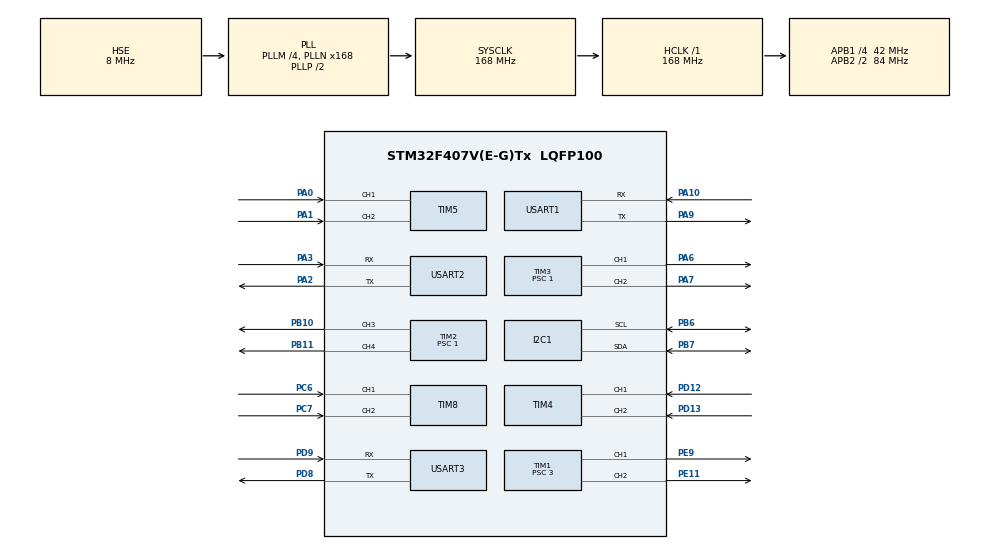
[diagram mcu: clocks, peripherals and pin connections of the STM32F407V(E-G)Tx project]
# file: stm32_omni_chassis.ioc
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Dma.Request0=USART2_RX
Dma.Request1=USART2_TX
Dma.Request2=USART1_RX
Dma.Request3=USART1_TX
Dma.Request4=USART3_TX
Dma.Request5=USART3_RX
Dma.USART1_RX.2.Direction=DMA_PERIPH_TO_MEMORY
Dma.USART1_RX.2.FIFOMode=DMA_FIFOMODE_DISABLE
Dma.USART1_RX.2.Instance=DMA2_Stream2
Dma.USART1_RX.2.MemDataAlignment=DMA_MDATAALIGN_BYTE
Dma.USART1_RX.2.MemInc=DMA_MINC_ENABLE
Dma.USART1_RX.2.Mode=DMA_NORMAL
Dma.USART1_RX.2.PeriphDataAlignment=DMA_PDATAALIGN_BYTE
Dma.USART1_RX.2.PeriphInc=DMA_PINC_DISABLE
Dma.USART1_RX.2.Priority=DMA_PRIORITY_LOW
Dma.USART1_TX.3.Direction=DMA_MEMORY_TO_PERIPH
Dma.USART1_TX.3.FIFOMode=DMA_FIFOMODE_DISABLE
Dma.USART1_TX.3.Instance=DMA2_Stream7
Dma.USART1_TX.3.MemDataAlignment=DMA_MDATAALIGN_BYTE
Dma.USART1_TX.3.MemInc=DMA_MINC_ENABLE
Dma.USART1_TX.3.Mode=DMA_NORMAL
Dma.USART1_TX.3.PeriphDataAlignment=DMA_PDATAALIGN_BYTE
Dma.USART1_TX.3.PeriphInc=DMA_PINC_DISABLE
Dma.USART1_TX.3.Priority=DMA_PRIORITY_LOW
Dma.USART2_RX.0.Direction=DMA_PERIPH_TO_MEMORY
Dma.USART2_RX.0.FIFOMode=DMA_FIFOMODE_DISABLE
Dma.USART2_RX.0.Instance=DMA1_Stream5
Dma.USART2_RX.0.MemDataAlignment=DMA_MDATAALIGN_BYTE
Dma.USART2_RX.0.MemInc=DMA_MINC_ENABLE
Dma.USART2_RX.0.Mode=DMA_NORMAL
Dma.USART2_RX.0.PeriphDataAlignment=DMA_PDATAALIGN_BYTE
Dma.USART2_RX.0.PeriphInc=DMA_PINC_DISABLE
Dma.USART2_RX.0.Priority=DMA_PRIORITY_LOW
Dma.USART2_TX.1.Direction=DMA_MEMORY_TO_PERIPH
Dma.USART2_TX.1.FIFOMode=DMA_FIFOMODE_DISABLE
Dma.USART2_TX.1.Instance=DMA1_Stream6
Dma.USART2_TX.1.MemDataAlignment=DMA_MDATAALIGN_BYTE
Dma.USART2_TX.1.MemInc=DMA_MINC_ENABLE
Dma.USART2_TX.1.Mode=DMA_NORMAL
Dma.USART2_TX.1.PeriphDataAlignment=DMA_PDATAALIGN_BYTE
Dma.USART2_TX.1.PeriphInc=DMA_PINC_DISABLE
Dma.USART2_TX.1.Priority=DMA_PRIORITY_LOW
Dma.USART3_RX.5.Direction=DMA_PERIPH_TO_MEMORY
Dma.USART3_RX.5.FIFOMode=DMA_FIFOMODE_DISABLE
Dma.USART3_RX.5.Instance=DMA1_Stream1
Dma.USART3_RX.5.MemDataAlignment=DMA_MDATAALIGN_BYTE
Dma.USART3_RX.5.MemInc=DMA_MINC_ENABLE
Dma.USART3_RX.5.Mode=DMA_NORMAL
Dma.USART3_RX.5.PeriphDataAlignment=DMA_PDATAALIGN_BYTE
Dma.USART3_RX.5.PeriphInc=DMA_PINC_DISABLE
Dma.USART3_RX.5.Priority=DMA_PRIORITY_LOW
Dma.USART3_TX.4.Direction=DMA_MEMORY_TO_PERIPH
Dma.USART3_TX.4.FIFOMode=DMA_FIFOMODE_DISABLE
Dma.USART3_TX.4.Instance=DMA1_Stream3
Dma.USART3_TX.4.MemDataAlignment=DMA_MDATAALIGN_BYTE
Dma.USART3_TX.4.MemInc=DMA_MINC_ENABLE
Dma.USART3_TX.4.Mode=DMA_NORMAL
Dma.USART3_TX.4.PeriphDataAlignment=DMA_PDATAALIGN_BYTE
Dma.USART3_TX.4.PeriphInc=DMA_PINC_DISABLE
Dma.USART3_TX.4.Priority=DMA_PRIORITY_LOW
Mcu.Family=STM32F4
Mcu.Name=STM32F407V(E-G)Tx
Mcu.Package=LQFP100
NVIC.DMA1_Stream1_IRQn=true\:0\:0\:false\:false\:true\:false\:true\:true
NVIC.DMA1_Stream3_IRQn=true\:0\:0\:false\:false\:true\:false\:true\:true
NVIC.DMA1_Stream5_IRQn=true\:0\:0\:false\:false\:true\:false\:true\:true
NVIC.DMA1_Stream6_IRQn=true\:0\:0\:false\:false\:true\:false\:true\:true
NVIC.DMA2_Stream2_IRQn=true\:0\:0\:false\:false\:true\:false\:true\:true
NVIC.DMA2_Stream7_IRQn=true\:0\:0\:false\:false\:true\:false\:true\:true
NVIC.PriorityGroup=NVIC_PRIORITYGROUP_4
NVIC.TIM7_IRQn=true\:0\:0\:false\:false\:true\:true\:true\:true
NVIC.USART1_IRQn=true\:0\:0\:false\:false\:true\:true\:true\:true
NVIC.USART2_IRQn=true\:0\:0\:false\:false\:true\:true\:true\:true
NVIC.USART3_IRQn=true\:0\:0\:false\:false\:true\:true\:true\:true
PA0-WKUP.Signal=S_TIM5_CH1
PA1.Signal=S_TIM5_CH2
PA10.Mode=Asynchronous
PA10.Signal=USART1_RX
PA13.Mode=Serial_Wire
PA13.Signal=SYS_JTMS-SWDIO
PA14.Mode=Serial_Wire
PA14.Signal=SYS_JTCK-SWCLK
PA2.Mode=Asynchronous
PA2.Signal=USART2_TX
PA3.Mode=Asynchronous
PA3.Signal=USART2_RX
PA6.Signal=S_TIM3_CH1
PA7.Signal=S_TIM3_CH2
PA9.Mode=Asynchronous
PA9.Signal=USART1_TX
PB10.Signal=S_TIM2_CH3
PB11.Signal=S_TIM2_CH4
PB6.Mode=I2C
PB6.Signal=I2C1_SCL
PB7.Mode=I2C
PB7.Signal=I2C1_SDA
PC6.Signal=S_TIM8_CH1
PC7.Signal=S_TIM8_CH2
PD12.Signal=S_TIM4_CH1
PD13.Signal=S_TIM4_CH2
PD8.Mode=Asynchronous
PD8.Signal=USART3_TX
PD9.Mode=Asynchronous
PD9.Signal=USART3_RX
PE11.Signal=S_TIM1_CH2
PE9.Signal=S_TIM1_CH1
PH0-OSC_IN.Mode=HSE-External-Oscillator
PH0-OSC_IN.Signal=RCC_OSC_IN
PH1-OSC_OUT.Mode=HSE-External-Oscillator
PH1-OSC_OUT.Signal=RCC_OSC_OUT
ProjectManager.HeapSize=0x200
ProjectManager.StackSize=0x400
ProjectManager.TargetToolchain=CMake
RCC.48MHZClocksFreq_Value=84000000
RCC.AHBFreq_Value=168000000
RCC.APB1CLKDivider=RCC_HCLK_DIV4
RCC.APB1Freq_Value=42000000
RCC.APB1TimFreq_Value=84000000
RCC.APB2CLKDivider=RCC_HCLK_DIV2
RCC.APB2Freq_Value=84000000
RCC.APB2TimFreq_Value=168000000
RCC.CortexFreq_Value=168000000
RCC.HCLKFreq_Value=168000000
RCC.HSE_VALUE=8000000
RCC.HSI_VALUE=16000000
RCC.LSE_VALUE=32768
RCC.PLLM=4
RCC.PLLN=168
RCC.PLLSourceVirtual=RCC_PLLSOURCE_HSE
RCC.SYSCLKFreq_VALUE=168000000
RCC.SYSCLKSource=RCC_SYSCLKSOURCE_PLLCLK
RCC.VCOOutputFreq_Value=336000000
SH.S_TIM1_CH1.0=TIM1_CH1,PWM Generation1 CH1
SH.S_TIM1_CH2.0=TIM1_CH2,PWM Generation2 CH2
SH.S_TIM2_CH3.0=TIM2_CH3,PWM Generation3 CH3
SH.S_TIM2_CH4.0=TIM2_CH4,PWM Generation4 CH4
SH.S_TIM3_CH1.0=TIM3_CH1,PWM Generation1 CH1
SH.S_TIM3_CH2.0=TIM3_CH2,PWM Generation2 CH2
SH.S_TIM4_CH1.0=TIM4_CH1,Encoder_Interface
SH.S_TIM4_CH2.0=TIM4_CH2,Encoder_Interface
SH.S_TIM5_CH1.0=TIM5_CH1,Encoder_Interface
SH.S_TIM5_CH2.0=TIM5_CH2,Encoder_Interface
SH.S_TIM8_CH1.0=TIM8_CH1,Encoder_Interface
SH.S_TIM8_CH2.0=TIM8_CH2,Encoder_Interface
TIM1.AutoReloadPreload=TIM_AUTORELOAD_PRELOAD_ENABLE
TIM1.Channel-PWM\ Generation1\ CH1=TIM_CHANNEL_1
TIM1.Channel-PWM\ Generation2\ CH2=TIM_CHANNEL_2
TIM1.Period=2099
TIM1.Prescaler=3
TIM2.AutoReloadPreload=TIM_AUTORELOAD_PRELOAD_ENABLE
TIM2.Channel-PWM\ Generation3\ CH3=TIM_CHANNEL_3
TIM2.Channel-PWM\ Generation4\ CH4=TIM_CHANNEL_4
TIM2.Period=2099
TIM2.Prescaler=1
TIM3.AutoReloadPreload=TIM_AUTORELOAD_PRELOAD_ENABLE
TIM3.Channel-PWM\ Generation1\ CH1=TIM_CHANNEL_1
TIM3.Channel-PWM\ Generation2\ CH2=TIM_CHANNEL_2
TIM3.Period=2099
TIM3.Prescaler=1
TIM4.EncoderMode=TIM_ENCODERMODE_TI12
TIM5.EncoderMode=TIM_ENCODERMODE_TI12
TIM7.Period=9999
TIM7.Prescaler=83
TIM8.EncoderMode=TIM_ENCODERMODE_TI12
USART1.VirtualMode=VM_ASYNC
USART2.VirtualMode=VM_ASYNC
USART3.VirtualMode=VM_ASYNC
VP_TIM7_VS_ClockSourceINT.Mode=Enable_Timer
board=custom

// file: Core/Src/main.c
/* USER CODE BEGIN Header */
/**
  ******************************************************************************
  * @file           : main.c
  * @brief          : Main program body
  ******************************************************************************
  * @attention
  *
  * Copyright (c) 2026 STMicroelectronics.
  * All rights reserved.
  *
  * This software is licensed under terms that can be found in the LICENSE file
  * in the root directory of this software component.
  * If no LICENSE file comes with this software, it is provided AS-IS.
  *
  ******************************************************************************
  */
/* USER CODE END Header */
#include "main.h"
#include "dma.h"
#include "i2c.h"
#include "tim.h"
#include "usart.h"
#include "gpio.h"

/* USER CODE BEGIN Includes */
#include "chassis_config.h"
#include "encoder.h"
#include "jy901p.h"
#include "motor.h"
#include "motor_safety.h"
#include "Omni.h"
#include "pid.h"
#include "remote_control.h"
#include <math.h>
#include <stdio.h>
#include <string.h>
/* USER CODE END Includes */

/* USER CODE BEGIN PD */
#define IMU_FRESH_TIMEOUT_MS 500U   /* IMU 角度帧超过 500ms 未更新，视为失效 */
#define DEBUG_PRINT_PERIOD_MS 100U  /* USART3 调试日志输出间隔，单位 ms */

/* ==================== 上电单次动作测试参数 ====================
 * 修改下面的宏后重新编译/烧录，也可通过编译器 -D 覆盖。
 * ENABLE=0：关闭上电测试，车辆保持原有手动控制；ENABLE=1：上电执行一次。
 * MODE 选择：CHASSIS_CONTROL_STRAIGHT（2，直行）、
 *            CHASSIS_CONTROL_LATERAL（3，平移）、CHASSIS_CONTROL_TURN（5，180°）。
 * 直行/平移按各自速度和时长执行，到时自动输出零 PWM 并停止；
 * 转向固定为相对 180°，沿用底盘到位/8 秒超时/越限保护，不使用平移时长。
 * 完成或取消后不自动重试；需要再次上电测试时复位 MCU。 */
#ifndef POWER_ON_TEST_ENABLE
#define POWER_ON_TEST_ENABLE 0U                  /* 总开关：0 关闭，1 启用 */
#endif
#ifndef POWER_ON_TEST_MODE
#define POWER_ON_TEST_MODE CHASSIS_CONTROL_STRAIGHT /* 动作选择：2 直行、3 平移、5 掉头 */
#endif
#ifndef POWER_ON_TEST_STRAIGHT_SPEED_MPS
#define POWER_ON_TEST_STRAIGHT_SPEED_MPS 0.15f    /* 直行速度 m/s，正值前进，负值后退 */
#endif
#ifndef POWER_ON_TEST_LATERAL_SPEED_MPS
#define POWER_ON_TEST_LATERAL_SPEED_MPS 0.15f     /* 平移速度 m/s，正值向左，负值向右 */
#endif
#ifndef POWER_ON_TEST_STRAIGHT_DURATION_MS
#define POWER_ON_TEST_STRAIGHT_DURATION_MS 2000U  /* 直行测试时长 ms，从实际开始驱动时计时 */
#endif
#ifndef POWER_ON_TEST_LATERAL_DURATION_MS
#define POWER_ON_TEST_LATERAL_DURATION_MS 2000U   /* 平移测试时长 ms，从实际开始驱动时计时 */
#endif
#ifndef POWER_ON_TEST_START_DELAY_MS
#define POWER_ON_TEST_START_DELAY_MS 2000U        /* 初始化完成后的启动等待时间 ms */
#endif
#ifndef POWER_ON_TEST_IMU_WAIT_TIMEOUT_MS
#define POWER_ON_TEST_IMU_WAIT_TIMEOUT_MS 5000U   /* 启动延迟结束后，等待 IMU 有效的最长时间 ms */
#endif
/* USER CODE END PD */

void SystemClock_Config(void);

/* USER CODE BEGIN 0 */
Omni_t omni;           /* 三轮全向底盘，保存轮速目标和航向控制状态 */
Encoder_t encoder1;    /* A 后轮编码器，TIM4 */
Encoder_t encoder2;    /* B 右前轮编码器，TIM5 */
Encoder_t encoder3;    /* C 左前轮编码器，TIM8 */
JY901P_t imu;          /* JY901P 姿态传感器，USART2 */

/* 三轮独立增量式速度 PID；由 Omni 模块每个控制周期计算一次。
 * 直行/平移使能为 1 仅表示允许执行，实际运动由 g_control_mode 选择。 */
inc_pid_t motor_A_pid;
inc_pid_t motor_B_pid;
inc_pid_t motor_C_pid;
volatile uint8_t g_drive_straight_enable = 1U; /* 直行使能，组合运动也检查此标志 */
volatile uint8_t g_drive_lateral_enable = 1U;  /* 平移使能，组合运动也检查此标志 */

volatile float RPM_A;  /* A 轮实测转速，单位 RPM，保留编码器原始方向符号 */
volatile float RPM_B;  /* B 轮实测转速，TIM7 每 10ms 更新 */
volatile float RPM_C;  /* C 轮实测转速，TIM7 每 10ms 更新 */

/* 基本动作测试入口，可通过调试器 Watch 修改下面的全局变量：
 * 1. 先设 g_control_mode=0 并运行至少 10ms，让停止指令执行。
 * 2. 确认日志 fresh=1、trip=0/0，再写目标参数，最后设置运动模式。
 *    直行：g_target_vx=0.15f，g_control_mode=2；负速度表示后退。
 *    平移：g_target_vy=0.15f，g_control_mode=3；正值向左，负值向右。
 *    掉头：g_turn_angle_deg=180.0f，g_control_mode=5。
 * 3. 手动直行和平移持续执行，测试结束写 g_control_mode=0；转向结束自动停止。
 *    若要上电自动测试并定时停止，使用上面的 POWER_ON_TEST_* 配置宏。
 *
 * 上电默认停止。若用代码启动测试，应在外设初始化完成、IMU 数据有效后
 * 再设置运动模式；首帧未到时直接设置航向模式，会被失效检查清回停止。
 * 同时更新多个命令字段时使用短临界区，避免中断读取到不完整命令。 */
volatile ChassisControlMode_t g_control_mode = CHASSIS_CONTROL_STOP;
volatile float g_target_vx = 0.0f;       /* 前后速度，单位 m/s，正值向前 */
volatile float g_target_vy = 0.0f;       /* 横移速度，单位 m/s，正值向左 */
volatile float g_target_omega = 0.0f;    /* 仅速度模式使用，单位 rad/s，逆时针为正 */
volatile float g_turn_angle_deg = 90.0f; /* 相对转角，单位度，进入转向模式时锁存 */
/* 转向状态：0 空闲，1 转向中，2 到位，3 超时，4 越限。
 * 停止或保护触发时可能保留上次状态，判断是否运动需同时查看 mode/trip。
 * 普通正转角为逆时针、负转角为顺时针，超过 180° 时自动取最短路径。
 * 恰好 180° 的两侧路径等长，当前控制不保证固定掉头方向。 */
volatile uint8_t g_turn_state = OMNI_TURN_IDLE;
volatile PowerOnTestState_t g_power_on_test_state = POWER_ON_TEST_DISABLED;
volatile uint8_t g_remote_active;  /* 1：当前持续运动由串口速度帧控制 */
volatile uint8_t g_remote_timeout; /* 1：遥控超时、过期帧或串口接收故障 */

static char dma_uart3_tx_buffer[256]; /* DMA 发送未完成前不能改写该缓冲区 */
static ChassisControlMode_t last_control_mode = CHASSIS_CONTROL_STOP;
static float active_turn_angle_deg;   /* 当前转向锁存值，途中修改命令不影响本次动作 */

/* 上电测试与底盘控制都由 TIM7 调度，避免主循环与中断争用运动参数。 */
static uint32_t power_on_test_wait_start_tick;
static uint32_t power_on_test_motion_start_tick;
static ChassisControlMode_t power_on_test_mode;
static float power_on_test_speed;
static uint32_t power_on_test_duration_ms;

static uint32_t remote_last_frame_tick; /* 最近采用的完整有效帧接收时刻 */
static uint32_t remote_rearm_after_tick;
static uint8_t remote_rearm_required;  /* 故障后只接受停车屏障之后的新帧 */
static uint8_t remote_protection_seen; /* 记录保护状态，解除时丢弃旧队列指令 */

/* 给 Omni 转向控制提供航向角读取回调，单位度。 */
float Imu_GetYaw(void)
{
    return JY901P_GetYaw(&imu);
}

/* 返回 1 表示 IMU 已收到有效角度帧，且最近更新时间未超过 500ms。 */
uint8_t Imu_YawFresh(void)
{
    return JY901P_IsFresh(&imu, IMU_FRESH_TIMEOUT_MS);
}

/* 初始化遥控状态，不改变上电测试/手动控制的默认行为。 */
static void SerialRemote_Init(void)
{
    g_remote_active = 0U;
    g_remote_timeout = 0U;
    remote_last_frame_tick = 0U;
    remote_rearm_after_tick = 0U;
    remote_rearm_required = 0U;
    remote_protection_seen = 0U;
}

/* 有效遥控帧主动接管，包含 0,0,0 停车帧，避免等待中的上电测试后来启动。 */
static void SerialRemote_CancelPowerOnTest(void)
{
    if (g_power_on_test_state == POWER_ON_TEST_WAITING
        || g_power_on_test_state == POWER_ON_TEST_RUNNING)
        g_power_on_test_state = POWER_ON_TEST_ABORTED;
}

static void SerialRemote_Stop(uint32_t now)
{
    RemoteControl_InvalidateStream();
    g_target_vx = 0.0f;
    g_target_vy = 0.0f;
    g_target_omega = 0.0f;
    g_control_mode = CHASSIS_CONTROL_STOP;
    g_remote_active = 0U;
    g_remote_timeout = 1U;
    remote_rearm_required = 1U;
    remote_rearm_after_tick = now;
    SerialRemote_CancelPowerOnTest();
}

/* TIM7 独占运动参数更新；主循环只负责解析，不能直接给电机发控制量。
 * 数据格式 x,y,w\n，x/y 为 m/s，w 为 rad/s。0,0,0\n 立即请求停车。
 * 全部速度帧采用三轮速度闭环，不锁定 IMU 航向；航向仍可由手动模式控制。
 * 连续运动建议每 10ms（100Hz）更新一次，500ms 未收到有效帧则停车。 */
static void SerialRemote_BeforeControl(void)
{
    RemoteControlCommand_t command;
    uint32_t now = HAL_GetTick();
    uint32_t timeout_ms = (uint32_t)REMOTE_CONTROL_TIMEOUT_MS;
    uint8_t fault = RemoteControl_TakeFault();
    uint8_t received = RemoteControl_TakeCommand(&command);

    /* 保护不能由串口数据解除；保护期间消费并丢弃命令，底盘控制负责刹车。 */
    if (MotorSafety_Tripped() || Omni_SafetyTripped()) {
        if (!remote_protection_seen)
            RemoteControl_InvalidateStream();
        g_control_mode = CHASSIS_CONTROL_STOP;
        g_target_vx = g_target_vy = g_target_omega = 0.0f;
        g_remote_active = 0U;
        remote_protection_seen = 1U;
        remote_rearm_required = 1U;
        remote_rearm_after_tick = now;
        return;
    }
    if (remote_protection_seen) {
        RemoteControl_InvalidateStream();
        /* 保护刚解除：丢弃本周期命令，避免先前接收、延迟解析的帧恢复旧运动。 */
        remote_protection_seen = 0U;
        remote_rearm_required = 1U;
        remote_rearm_after_tick = now;
        return;
    }

    if (fault) {
        /* 已接管运动时故障停车；空闲串口故障不接管上电测试/手动运动。
         * 本周期获取到的命令也丢弃，恢复后必须发送新的完整有效帧。 */
        if (g_remote_active)
            SerialRemote_Stop(now);
        else {
            RemoteControl_InvalidateStream();
            g_remote_timeout = 1U;
            remote_rearm_required = 1U;
            remote_rearm_after_tick = now;
        }
        return;
    }

    /* 先执行已到期的看门狗，不能让刚补齐的旧半帧覆盖本次停车屏障。 */
    if (g_remote_active && g_control_mode == CHASSIS_CONTROL_VELOCITY
        && now - remote_last_frame_tick >= timeout_ms) {
        SerialRemote_Stop(now);
        return;
    }

    if (received) {
        uint32_t age = now - command.received_tick;
        /* 使用真实接收时间，堵住主循环积压后把旧帧当成新命令的路径。 */
        if (age >= timeout_ms) {
            g_remote_timeout = 1U;
            if (g_remote_active)
                SerialRemote_Stop(now);
            else
                RemoteControl_InvalidateStream();
            return;
        }
        /* 比较无符号时间差，兼容 tick 回绕及长时间断线后的重新连接。 */
        if (remote_rearm_required && age >= now - remote_rearm_after_tick)
            return;

        SerialRemote_CancelPowerOnTest();
        g_target_vx = command.x;
        g_target_vy = command.y;
        g_target_omega = command.w;
        g_turn_angle_deg = 0.0f; /* 速度遥控不使用相对转角，清理之前的命令值 */
        remote_last_frame_tick = command.received_tick;
        remote_rearm_required = 0U;
        g_remote_timeout = 0U;
        g_remote_active = command.x != 0.0f || command.y != 0.0f || command.w != 0.0f;
        g_control_mode = g_remote_active ? CHASSIS_CONTROL_VELOCITY : CHASSIS_CONTROL_STOP;
    }

    if (g_remote_active) {
        if (g_control_mode != CHASSIS_CONTROL_VELOCITY)
            g_remote_active = 0U; /* 调试器切换了手动模式，退出当前遥控看门狗 */
        else if (now - remote_last_frame_tick >= timeout_ms)
            SerialRemote_Stop(now);
    }
}

/* 底盘控制可能在本周期触发保护；失效后不保留遥控运动的活动状态。 */
static void SerialRemote_AfterControl(void)
{
    if (g_remote_active && g_control_mode != CHASSIS_CONTROL_VELOCITY)
        g_remote_active = 0U;
    if (MotorSafety_Tripped() || Omni_SafetyTripped()) {
        if (!remote_protection_seen)
            RemoteControl_InvalidateStream();
        g_control_mode = CHASSIS_CONTROL_STOP;
        g_target_vx = g_target_vy = g_target_omega = 0.0f;
        g_remote_active = 0U;
        remote_protection_seen = 1U;
        remote_rearm_required = 1U;
        remote_rearm_after_tick = HAL_GetTick();
    }
}

/* 在 TIM7 启动前装载配置。禁用时不接管手动命令；配置错误时保持停止。 */
static void PowerOnTest_Init(void)
{
    uint32_t delay_ms = (uint32_t)POWER_ON_TEST_START_DELAY_MS;
    uint32_t wait_ms = (uint32_t)POWER_ON_TEST_IMU_WAIT_TIMEOUT_MS;

    g_power_on_test_state = POWER_ON_TEST_DISABLED;
    if (POWER_ON_TEST_ENABLE == 0U)
        return;

    g_control_mode = CHASSIS_CONTROL_STOP;
    power_on_test_mode = (ChassisControlMode_t)POWER_ON_TEST_MODE;
    power_on_test_speed = 0.0f;
    power_on_test_duration_ms = 0U;

    /* 每段计时限制在 uint32_t 的半个周期以内，排除负时长转换及无效配置。
     * 用 C 枚举比较动作，不能用 #if 比较枚举名。 */
    if (POWER_ON_TEST_ENABLE != 1U || delay_ms > 0x7FFFFFFFU
        || wait_ms == 0U || wait_ms > 0x7FFFFFFFU) {
        g_power_on_test_state = POWER_ON_TEST_ABORTED;
        return;
    }

    switch (power_on_test_mode) {
    case CHASSIS_CONTROL_STRAIGHT:
        power_on_test_speed = POWER_ON_TEST_STRAIGHT_SPEED_MPS;
        power_on_test_duration_ms = (uint32_t)POWER_ON_TEST_STRAIGHT_DURATION_MS;
        break;
    case CHASSIS_CONTROL_LATERAL:
        power_on_test_speed = POWER_ON_TEST_LATERAL_SPEED_MPS;
        power_on_test_duration_ms = (uint32_t)POWER_ON_TEST_LATERAL_DURATION_MS;
        break;
    case CHASSIS_CONTROL_TURN:
        break; /* 固定 180°，完成判定和运动超时由 Omni 转向控制负责 */
    default:
        g_power_on_test_state = POWER_ON_TEST_ABORTED;
        return;
    }

    if (power_on_test_mode != CHASSIS_CONTROL_TURN
        && (!isfinite(power_on_test_speed) || power_on_test_speed == 0.0f
            || power_on_test_duration_ms == 0U
            || power_on_test_duration_ms > 0x7FFFFFFFU)) {
        g_power_on_test_state = POWER_ON_TEST_ABORTED;
        return;
    }

    power_on_test_wait_start_tick = HAL_GetTick();
    g_power_on_test_state = POWER_ON_TEST_WAITING;
}

/* 每个控制周期先处理启动/停止条件，再让 Chassis_ControlTick 输出一次控制。
 * 使用无符号时间差，HAL 毫秒计数器回绕时仍能正确计时。 */
static void PowerOnTest_BeforeControl(void)
{
    uint32_t now = HAL_GetTick();
    uint32_t delay_ms = (uint32_t)POWER_ON_TEST_START_DELAY_MS;
    uint32_t wait_ms = (uint32_t)POWER_ON_TEST_IMU_WAIT_TIMEOUT_MS;

    if (g_power_on_test_state != POWER_ON_TEST_WAITING
        && g_power_on_test_state != POWER_ON_TEST_RUNNING)
        return;

    /* 保护优先于启动及正常结束；触发后取消测试，不能误报完成。 */
    if (MotorSafety_Tripped() || Omni_SafetyTripped()) {
        g_control_mode = CHASSIS_CONTROL_STOP;
        g_power_on_test_state = POWER_ON_TEST_ABORTED;
        return;
    }

    /* 手动切换模式立即退出自动测试，保留新命令交给基础控制处理。
     * 运行中设 STOP 会停车且不重启；等待阶段已是 STOP，重复写 STOP 不算切换。 */
    if ((g_power_on_test_state == POWER_ON_TEST_WAITING
         && g_control_mode != CHASSIS_CONTROL_STOP)
        || (g_power_on_test_state == POWER_ON_TEST_RUNNING
            && g_control_mode != power_on_test_mode)) {
        g_power_on_test_state = POWER_ON_TEST_ABORTED;
        return;
    }

    /* 直行/平移使能关闭也取消测试，防止后来恢复使能时突然继续执行。 */
    if ((power_on_test_mode == CHASSIS_CONTROL_STRAIGHT && !g_drive_straight_enable)
        || (power_on_test_mode == CHASSIS_CONTROL_LATERAL && !g_drive_lateral_enable)) {
        g_control_mode = CHASSIS_CONTROL_STOP;
        g_power_on_test_state = POWER_ON_TEST_ABORTED;
        return;
    }

    if (g_power_on_test_state == POWER_ON_TEST_WAITING) {
        uint32_t elapsed = now - power_on_test_wait_start_tick;
        if (elapsed < delay_ms)
            return;
        /* 到等待截止时刻即取消；IMU 此后恢复也不自动重试。 */
        if (elapsed - delay_ms >= wait_ms) {
            g_power_on_test_state = POWER_ON_TEST_ABORTED;
            return;
        }
        if (!Imu_YawFresh())
            return;

        g_target_vx = 0.0f;
        g_target_vy = 0.0f;
        g_target_omega = 0.0f;
        if (power_on_test_mode == CHASSIS_CONTROL_STRAIGHT)
            g_target_vx = power_on_test_speed;
        else if (power_on_test_mode == CHASSIS_CONTROL_LATERAL)
            g_target_vy = power_on_test_speed;
        else
            g_turn_angle_deg = 180.0f;

        /* 本周期紧接着执行底盘控制，直行/平移的时长从首次驱动周期开始。 */
        power_on_test_motion_start_tick = now;
        g_control_mode = power_on_test_mode;
        g_power_on_test_state = POWER_ON_TEST_RUNNING;
        return;
    }

    if (!Imu_YawFresh()) {
        g_control_mode = CHASSIS_CONTROL_STOP;
        g_power_on_test_state = POWER_ON_TEST_ABORTED;
    } else if (power_on_test_mode != CHASSIS_CONTROL_TURN
               && now - power_on_test_motion_start_tick >= power_on_test_duration_ms) {
        /* 到时先切 STOP，再执行本周期控制；最多有一个 10ms 周期的量化误差。 */
        g_control_mode = CHASSIS_CONTROL_STOP;
        g_power_on_test_state = POWER_ON_TEST_DONE;
    }
}

/* 执行底盘控制后同步结果，区分转向到位与超时/越限/失效取消。 */
static void PowerOnTest_AfterControl(void)
{
    if (g_power_on_test_state != POWER_ON_TEST_RUNNING)
        return;
    if (MotorSafety_Tripped() || Omni_SafetyTripped()) {
        g_control_mode = CHASSIS_CONTROL_STOP;
        g_power_on_test_state = POWER_ON_TEST_ABORTED;
    } else if (g_control_mode != power_on_test_mode) {
        g_power_on_test_state = power_on_test_mode == CHASSIS_CONTROL_TURN
            && g_turn_state == OMNI_TURN_DONE
            ? POWER_ON_TEST_DONE : POWER_ON_TEST_ABORTED;
    }
}

/* 每 10ms 执行一次；每周期只调用一种运动 API，避免速度 PID 重复计算。 */
static void Chassis_ControlTick(void)
{
    ChassisControlMode_t mode = g_control_mode;
    float vx = g_target_vx;
    float vy = g_target_vy;
    float omega = g_target_omega;

    /* 超速或失控保护锁存时取消当前命令并保持刹车。
     * 排除故障、清除保护后，必须重新下发模式，旧运动不会自动恢复。 */
    if (MotorSafety_Tripped() || Omni_SafetyTripped()) {
        g_control_mode = CHASSIS_CONTROL_STOP;
        last_control_mode = CHASSIS_CONTROL_STOP;
        Omni_BrakeStop(&omni);
        return;
    }

    /* 非法模式或 NaN/无穷大参数直接转为停止，避免无效值进入运动学计算。 */
    if (mode < CHASSIS_CONTROL_STOP || mode > CHASSIS_CONTROL_TURN
        || !isfinite(vx) || !isfinite(vy) || !isfinite(omega)
        || !isfinite(g_turn_angle_deg)) {
        g_control_mode = CHASSIS_CONTROL_STOP;
        mode = CHASSIS_CONTROL_STOP;
    }

    /* 切换模式时停止上一动作，并清除速度/航向 PID 历史，重新锁定航向。 */
    if (mode != last_control_mode) {
        Omni_TurnStop(&omni);
        if (mode == CHASSIS_CONTROL_TURN) {
            /* 新的一次转向只在进入模式时初始化，不能每个周期重新初始化。
             * 转向参数与启动初始化共用 chassis_config.h 中的配置。 */
            Omni_TurnInit(&omni, CHASSIS_TURN_YAW_KP,
                          CHASSIS_TURN_YAW_KI, CHASSIS_TURN_YAW_KD);
            /* 先取余，避免极大有限转角使后续角度归一化循环无法收敛。 */
            active_turn_angle_deg = fmodf(g_turn_angle_deg, 360.0f);
            g_turn_state = OMNI_TURN_IDLE;
        }
        last_control_mode = mode;
    }

    /* 速度模式使用编码器闭环，不依赖 IMU。
     * 直行、平移、组合运动和转向要求 IMU 数据有效；失效后取消动作，
     * IMU 恢复也不会自动续跑，需要重新设置运动模式。 */
    if (mode >= CHASSIS_CONTROL_STRAIGHT && !Imu_YawFresh()) {
        g_control_mode = CHASSIS_CONTROL_STOP;
        last_control_mode = CHASSIS_CONTROL_STOP;
        Omni_TurnStop(&omni);
        g_turn_state = OMNI_TURN_IDLE;
        return;
    }

    switch (mode) {
    case CHASSIS_CONTROL_VELOCITY:
        /* 模式 1：按 vx/vy/omega 合成轮速，执行速度闭环，不保持航向。 */
        Omni_SetVelocity(&omni, vx, vy, omega);
        break;
    case CHASSIS_CONTROL_STRAIGHT:
        /* 模式 2：前后直行，首次执行时锁定当前航向，并持续修正偏航。 */
        Omni_DriveStraight(&omni, vx, Imu_GetYaw());
        break;
    case CHASSIS_CONTROL_LATERAL:
        /* 模式 3：左右平移，使用独立的平移航向 PID 保持车头方向。 */
        Omni_DriveLateral(&omni, vy, Imu_GetYaw());
        break;
    case CHASSIS_CONTROL_COMBINED:
        /* 模式 4：同时执行前后和横向运动，与直行共用航向 PID。 */
        Omni_DriveCombined(&omni, vx, vy, Imu_GetYaw());
        break;
    case CHASSIS_CONTROL_TURN:
        /* 模式 5：单次相对转向；角度、超时和越限判定在 Omni 模块完成。 */
        Omni_TurnBy(&omni, active_turn_angle_deg);
        g_turn_state = (uint8_t)Omni_TurnGetState(&omni);
        if (g_turn_state == OMNI_TURN_DONE
            || g_turn_state == OMNI_TURN_TIMEOUT
            || g_turn_state == OMNI_TURN_OVERSHOOT) {
            /* 保存本次终态供日志查看，同时回到停止，允许下一次转向重新初始化。
             * 越限会锁存保护，必须排除故障并清除保护或复位后才能再次运动。 */
            g_control_mode = CHASSIS_CONTROL_STOP;
            last_control_mode = CHASSIS_CONTROL_STOP;
        }
        break;
    case CHASSIS_CONTROL_STOP:
    default:
        /* 模式 0：输出零 PWM，滑行停止，并清除速度和行驶航向环历史。 */
        Omni_Stop(&omni);
        break;
    }
}
/* 外设 MX_* 初始化后调用，集中保持初始化顺序。 */
static void Chassis_Init(void)
{
    if (!Encoder_InitOmni(&encoder1, &encoder2, &encoder3) || !Motor_Init())
        Error_Handler();

    MotorSafety_Init();
    inc_pid_init(&motor_A_pid, CHASSIS_SPEED_KP, CHASSIS_SPEED_A_KI,
                 CHASSIS_SPEED_KD, CHASSIS_SPEED_OUTPUT_LIMIT,
                 CHASSIS_SPEED_INCREMENT_LIMIT);
    inc_pid_init(&motor_B_pid, CHASSIS_SPEED_KP, CHASSIS_SPEED_B_KI,
                 CHASSIS_SPEED_KD, CHASSIS_SPEED_OUTPUT_LIMIT,
                 CHASSIS_SPEED_INCREMENT_LIMIT);
    inc_pid_init(&motor_C_pid, CHASSIS_SPEED_KP, CHASSIS_SPEED_C_KI,
                 CHASSIS_SPEED_KD, CHASSIS_SPEED_OUTPUT_LIMIT,
                 CHASSIS_SPEED_INCREMENT_LIMIT);
    Omni_Init(&omni, &encoder1, &encoder2, &encoder3);
    Omni_StraightInit(&omni, CHASSIS_STRAIGHT_YAW_KP,
                      CHASSIS_STRAIGHT_YAW_KI, CHASSIS_STRAIGHT_YAW_KD);
    Omni_LateralInit(&omni, CHASSIS_LATERAL_YAW_KP,
                     CHASSIS_LATERAL_YAW_KI, CHASSIS_LATERAL_YAW_KD);
    Omni_TurnInit(&omni, CHASSIS_TURN_YAW_KP,
                  CHASSIS_TURN_YAW_KI, CHASSIS_TURN_YAW_KD);
    JY901P_Init(&imu, &huart2);
    SerialRemote_Init();
    RemoteControl_Init(&huart1);
    PowerOnTest_Init();

    /* 所有模块就绪后才启动编码器采样与运动控制。 */
    if (HAL_TIM_Base_Start_IT(&htim7) != HAL_OK)
        Error_Handler();
}
/* USER CODE END 0 */

int main(void)
{

  /* MCU Configuration--------------------------------------------------------*/

  /* Reset of all peripherals, Initializes the Flash interface and the Systick. */
  HAL_Init();

  /* Configure the system clock */
  SystemClock_Config();

  /* Initialize all configured peripherals */
  MX_GPIO_Init();
  MX_DMA_Init();
  MX_TIM1_Init();
  MX_TIM2_Init();
  MX_TIM3_Init();
  MX_TIM4_Init();
  MX_TIM5_Init();
  MX_TIM8_Init();
  MX_USART1_UART_Init();
  MX_USART2_UART_Init();
  MX_USART3_UART_Init();
  MX_I2C1_Init();
  MX_TIM7_Init();
  /* USER CODE BEGIN 2 */
  Chassis_Init();
/* USER CODE END 2 */

  /* Infinite loop */
  /* USER CODE BEGIN WHILE */
  while (1)
  {
    RemoteControl_Process(); /* 只解析串口数据及恢复接收，运动命令由 TIM7 消费 */
    /* 在主循环格式化并发送日志，避免控制中断中执行耗时的浮点格式化。
     * 仅在上一帧 DMA 发送完成后写缓冲区，防止覆盖正在发送的数据。
     * 字段：mode 模式；x/y/w 当前速度目标（m/s、m/s、rad/s）；
     * A/B/C 实测 RPM；yaw 航向角；fresh IMU 有效标志；
     * turn 转向状态；ptest 上电测试状态（0 关闭/1 等待/2 运行/3 完成/4 取消）；
     * rc 遥控持续运动标志；rto 遥控超时/故障标志；
     * trip 两个值分别表示超速保护/失控保护是否锁存。 */
    static uint32_t last_debug_tick;
    uint32_t now = HAL_GetTick();
    if (now - last_debug_tick >= DEBUG_PRINT_PERIOD_MS
        && HAL_UART_GetState(&huart3) == HAL_UART_STATE_READY) {
      last_debug_tick = now;
      /* TIM7 会同时更新这些字段；只在短临界区复制，不在关中断时格式化。 */
      const uint32_t log_primask = __get_PRIMASK();
      __disable_irq();
      const unsigned log_mode = (unsigned)g_control_mode;
      const float log_x = g_target_vx;
      const float log_y = g_target_vy;
      const float log_w = g_target_omega;
      const float log_rpm_a = RPM_A;
      const float log_rpm_b = RPM_B;
      const float log_rpm_c = RPM_C;
      const unsigned log_turn = (unsigned)g_turn_state;
      const unsigned log_ptest = (unsigned)g_power_on_test_state;
      const unsigned log_rc = (unsigned)g_remote_active;
      const unsigned log_rto = (unsigned)g_remote_timeout;
      __set_PRIMASK(log_primask);
      snprintf(dma_uart3_tx_buffer, sizeof(dma_uart3_tx_buffer),
               "mode=%u x=%.2f y=%.2f w=%.2f A=%.1f B=%.1f C=%.1f yaw=%.2f fresh=%u turn=%u ptest=%u rc=%u rto=%u trip=%u/%u\r\n",
               log_mode, (double)log_x, (double)log_y, (double)log_w,
               (double)log_rpm_a, (double)log_rpm_b, (double)log_rpm_c,
               (double)Imu_GetYaw(), (unsigned)Imu_YawFresh(), log_turn, log_ptest,
               log_rc, log_rto,
               (unsigned)MotorSafety_Tripped(),
               (unsigned)Omni_SafetyTripped());
      HAL_UART_Transmit_DMA(&huart3, (uint8_t *)dma_uart3_tx_buffer,
                            (uint16_t)strlen(dma_uart3_tx_buffer));
    }
    /* USER CODE END WHILE */

  }
}

void SystemClock_Config(void)
{
  RCC_OscInitTypeDef RCC_OscInitStruct = {0};
  RCC_ClkInitTypeDef RCC_ClkInitStruct = {0};

  /** Configure the main internal regulator output voltage
  */
  __HAL_RCC_PWR_CLK_ENABLE();
  __HAL_PWR_VOLTAGESCALING_CONFIG(PWR_REGULATOR_VOLTAGE_SCALE1);

  /** Initializes the RCC Oscillators according to the specified parameters
  * in the RCC_OscInitTypeDef structure.
  */
  RCC_OscInitStruct.OscillatorType = RCC_OSCILLATORTYPE_HSE;
  RCC_OscInitStruct.HSEState = RCC_HSE_ON;
  RCC_OscInitStruct.PLL.PLLState = RCC_PLL_ON;
  RCC_OscInitStruct.PLL.PLLSource = RCC_PLLSOURCE_HSE;
  RCC_OscInitStruct.PLL.PLLM = 4;
  RCC_OscInitStruct.PLL.PLLN = 168;
  RCC_OscInitStruct.PLL.PLLP = RCC_PLLP_DIV2;
  RCC_OscInitStruct.PLL.PLLQ = 4;
  if (HAL_RCC_OscConfig(&RCC_OscInitStruct) != HAL_OK)
  {
    Error_Handler();
  }

  /** Initializes the CPU, AHB and APB buses clocks
  */
  RCC_ClkInitStruct.ClockType = RCC_CLOCKTYPE_HCLK|RCC_CLOCKTYPE_SYSCLK
                              |RCC_CLOCKTYPE_PCLK1|RCC_CLOCKTYPE_PCLK2;
  RCC_ClkInitStruct.SYSCLKSource = RCC_SYSCLKSOURCE_PLLCLK;
  RCC_ClkInitStruct.AHBCLKDivider = RCC_SYSCLK_DIV1;
  RCC_ClkInitStruct.APB1CLKDivider = RCC_HCLK_DIV4;
  RCC_ClkInitStruct.APB2CLKDivider = RCC_HCLK_DIV2;

  if (HAL_RCC_ClockConfig(&RCC_ClkInitStruct, FLASH_LATENCY_5) != HAL_OK)
  {
    Error_Handler();
  }
}

/* USER CODE BEGIN 4 */
void HAL_TIM_PeriodElapsedCallback(TIM_HandleTypeDef *htim)
{
    if (htim->Instance != TIM7)
        return;

    /* TIM7：84MHz / (84 × 10000)，每 10ms 采样一次编码器并执行控制。
     * 从定时器实际配置计算周期，保证编码器 RPM 换算使用正确采样时间。 */
    float period_s = Encoder_GetTimerPeriodS(htim);
    int valid_a = Encoder_UpdateRPM(&encoder1, period_s);
    int valid_b = Encoder_UpdateRPM(&encoder2, period_s);
    int valid_c = Encoder_UpdateRPM(&encoder3, period_s);
    /* 保存轮速供控制和主循环日志读取；任一采样失败均进入故障停机。 */
    RPM_A = Encoder_GetRPM(&encoder1);
    RPM_B = Encoder_GetRPM(&encoder2);
    RPM_C = Encoder_GetRPM(&encoder3);
    if (!valid_a || !valid_b || !valid_c)
        Error_Handler();

    /* 先检查超速，再执行运动，保证本周期发现的故障立即阻止继续驱动。 */
    MotorSafety_Check(RPM_A, RPM_B, RPM_C);
    SerialRemote_BeforeControl(); /* 遥控优先接管/停车；不清除保护 */
    PowerOnTest_BeforeControl(); /* 自动测试启动/定时结束/取消，均在中断内更新命令 */
    Chassis_ControlTick();
    PowerOnTest_AfterControl();  /* 底盘控制执行后读取转向结果，测试只运行一次 */
    SerialRemote_AfterControl(); /* 同步本周期保护引起的遥控取消 */
}

void HAL_UARTEx_RxEventCallback(UART_HandleTypeDef *huart, uint16_t Size)
{
    /* DMA/空闲接收事件交给 IMU 驱动；驱动内部只处理注册的 USART2。 */
    JY901P_RxCallback(huart, Size);
    RemoteControl_UartRxEventCallback(huart, Size); /* 仅处理注册的 USART1 */
}

void HAL_UART_ErrorCallback(UART_HandleTypeDef *huart)
{
    /* UART 出错时交给 IMU 驱动恢复接收。 */
    JY901P_UartErrorCallback(huart);
    RemoteControl_UartErrorCallback(huart); /* USART1 异常上报故障并由主循环恢复 */
}

void HAL_UART_AbortReceiveCpltCallback(UART_HandleTypeDef *huart)
{
    /* IMU 使用异步 Abort 恢复接收；完成后由驱动重启 USART2 DMA。 */
    JY901P_UartAbortReceiveCpltCallback(huart);
}
/* USER CODE END 4 */

void Error_Handler(void)
{
  /* USER CODE BEGIN Error_Handler_Debug */
  /* User can add his own implementation to report the HAL error return state */
  /* 运行中发生HAL/参数错误时，先把电机置于硬件刹车态，再停机等待复位。 */
  Motor_A_Brake();
  Motor_B_Brake();
  Motor_C_Brake();
  __disable_irq();
  while (1)
  {
  }
  /* USER CODE END Error_Handler_Debug */
}
